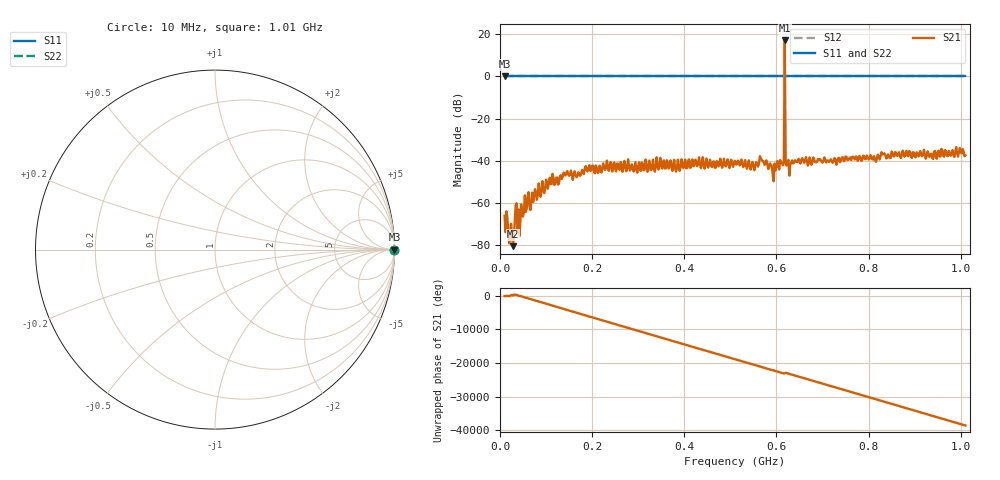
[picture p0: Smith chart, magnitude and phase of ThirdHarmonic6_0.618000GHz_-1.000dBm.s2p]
! 8/15/2025 8:18:49 PM
! C:\ANRITSUVNA\TEMP\TEMP.S2P
! CHANNEL.1
! TR.MEASUREMENT
! RAW.DATA
! RF.CORRECTION.OFF
! AVERAGING.OFF
! IF.BANDWIDTH: 5KHZ
! SWEEPTYPE:  FREQ.SWEEP(Linear)
! Reference Plane Port Info
! PORT:  PORT1  PORT2
! DISTANCE:  0  m  0  m
! TIME:  0  s  0  s
! PHASE.OFFSET:  0  deg.  0  deg.
! LOSS:  0  dB  0  dB
! REF.LOSS:  0  dB  0  dB
! REF.FREQ:  0  Hz  0  Hz
! Power Info
! POWER:  -20  dBm  -20  dBm
! EFF.POWER:  -20  dBm  -20  dBm
! SOURCE.ATTEN:  0  dB  0  dB
! TEST.ATTEN:  0  dB  0  dB
# GHZ S RI R 50.0
! FREQ.GHZ  S11RE  S11IM  S21RE  S21IM  S12RE  S12IM  S22RE  S22IM
!; PortSelection: Port_12
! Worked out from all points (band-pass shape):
!   501 points, 10 MHz to 1.01 GHz, reference 50 ohm
!   highest |S21| = 16.99 dB at 618 MHz (marker M1); lowest = -80.4 dB at 28 MHz (marker M2)
!   |S21| within 3 dB of the highest: 617.8964 MHz to 618.1029 MHz (206.5 kHz wide, 0.0334 % of centre)
!   lowest |S11| = 0.0 dB at 10 MHz (marker M3)
!   |S11| at or under -10 dB: nowhere
!   |S22| runs from 0.0 to 0.0 dB; largest |S21 - S12| = 6.4
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0.01  1 0  -0.000397 -0.000296  1 0  1 0
0.024  1 0  -7.35e-05 0.000312  1 0  1 0
0.028  1 0  7.34e-05 6.05e-05  1 0  1 0
0.036  1 0  -0.000755 -0.000641  1 0  1 0
0.046  1 0  -0.000844 0.000384  1 0  1 0
0.058  1 0  0.000649 0.000367  1 0  1 0
0.088  1 0  -0.000216 -0.00139  1 0  1 0
0.142  1 0  -0.00413 -0.00177  1 0  1 0
0.178  1 0  -0.00595 -0.00129  1 0  1 0
0.344  1 0  0.00621 -0.000311  1 0  1 0
0.51  1 0  -0.00973 0.00211  1 0  1 0
0.548  1 0  -0.00167 0.00925  1 0  1 0
0.568  1 0  0.0104 0.00146  1 0  1 0
0.596  1 0  0.00749 -0.00419  1 0  1 0
0.612  1 0  0.00599 0.00675  1 0  1 0
0.614  1 0  0.00709 -0.00329  1 0  1 0
0.618  1 0  5.183 -4.81  1 0  1 0
0.622  1 0  0.00716 0.00282  1 0  1 0
0.624  1 0  0.00502 -0.00825  1 0  1 0
0.678  1 0  0.00452 -0.00792  1 0  1 0
0.844  1 0  -0.00292 0.013  1 0  1 0
1.01  1 0  0.00538 -0.0124  1 0  1 0
